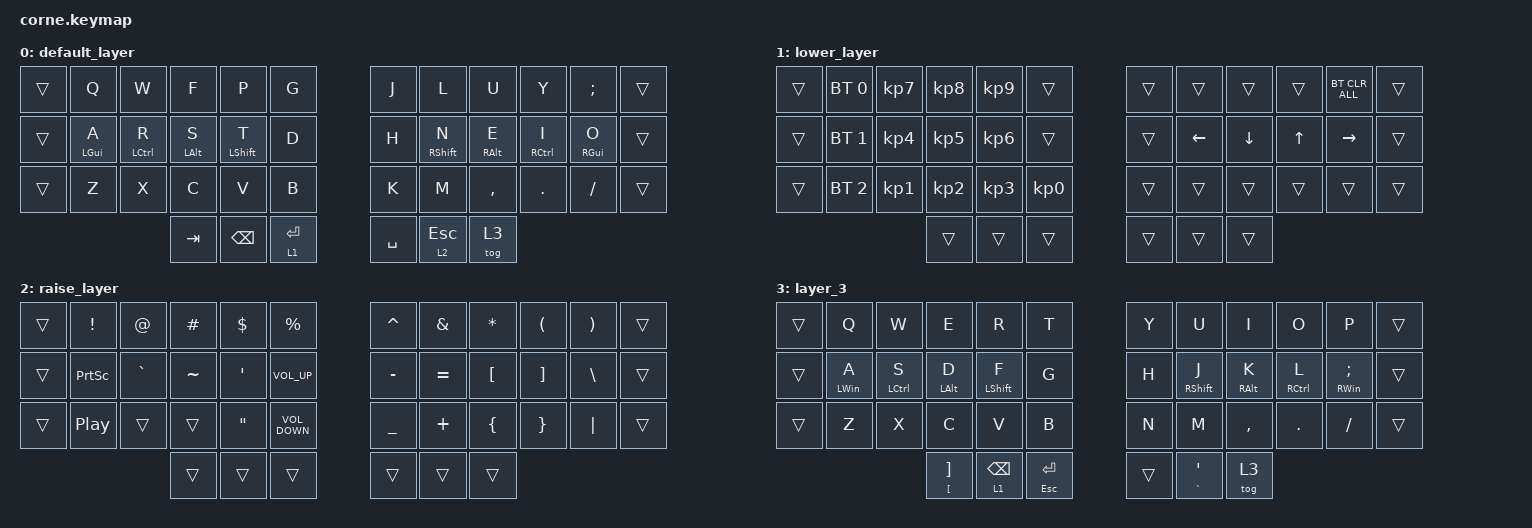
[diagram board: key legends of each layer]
/*
 * Copyright (c) 2020 The ZMK Contributors
 *
 * SPDX-License-Identifier: MIT
 */

#include <behaviors.dtsi>
#include <dt-bindings/zmk/bt.h>
#include <dt-bindings/zmk/keys.h>

/ {
    behaviors {
        HML: HML {
            compatible = "zmk,behavior-hold-tap";
            label = "HML";
            bindings = <&kp>, <&kp>;

            #binding-cells = <2>;
            tapping-term-ms = <280>;
            quick-tap-ms = <175>;
            flavor = "tap-preferred";
            hold-trigger-on-release;
        };

        HMR: HMR {
            compatible = "zmk,behavior-hold-tap";
            label = "HMR";
            bindings = <&kp>, <&kp>;

            #binding-cells = <2>;
            tapping-term-ms = <280>;
            quick-tap-ms = <175>;
            flavor = "tap-preferred";
            hold-trigger-on-release;
        };
    };

    keymap {
        compatible = "zmk,keymap";

        default_layer {
            // -----------------------------------------------------------------------------------------
            // |  TAB |  Q  |  W  |  E  |  R  |  T  |   |  Y  |  U   |  I  |  O  |  P  | BSPC |
            // | CTRL |  A  |  S  |  D  |  F  |  G  |   |  H  |  J   |  K  |  L  |  ;  |  '   |
            // | SHFT |  Z  |  X  |  C  |  V  |  B  |   |  N  |  M   |  ,  |  .  |  /  | ESC  |
            //                    | GUI | LWR | SPC |   | ENT | RSE  | ALT |

            bindings = <
&trans  &kp Q            &kp W                &kp F            &kp P              &kp G          &kp J      &kp L               &kp U             &kp Y                 &kp SEMI          &trans
&trans  &HML LEFT_GUI A  &HML LEFT_CONTROL R  &HML LEFT_ALT S  &HML LEFT_SHIFT T  &kp D          &kp H      &HMR RIGHT_SHIFT N  &HMR RIGHT_ALT E  &HMR RIGHT_CONTROL I  &HMR RIGHT_GUI O  &trans
&trans  &kp Z            &kp X                &kp C            &kp V              &kp B          &kp K      &kp M               &kp COMMA         &kp DOT               &kp FSLH          &trans
                                              &kp TAB          &kp BACKSPACE      &lt 1 ENTER    &kp SPACE  &lt 2 ESCAPE        &tog 3
            >;
        };

        lower_layer {
            // -----------------------------------------------------------------------------------------
            // |  TAB |  1  |  2  |  3  |  4  |  5  |   |  6  |  7  |  8  |  9  |  0  | BSPC |
            // | BTCLR| BT1 | BT2 | BT3 | BT4 | BT5 |   | LFT | DWN |  UP | RGT |     |      |
            // | SHFT |     |     |     |     |     |   |     |     |     |     |     |      |
            //                    | GUI |     | SPC |   | ENT |     | ALT |

            bindings = <
&trans  &bt BT_SEL 0  &kp KP_NUMBER_7  &kp KP_NUMBER_8  &kp KP_NUMBER_9  &trans             &trans  &trans          &trans          &trans        &bt BT_CLR_ALL   &trans
&trans  &bt BT_SEL 1  &kp KP_NUMBER_4  &kp KP_NUMBER_5  &kp KP_NUMBER_6  &trans             &trans  &kp LEFT_ARROW  &kp DOWN_ARROW  &kp UP_ARROW  &kp RIGHT_ARROW  &trans
&trans  &bt BT_SEL 2  &kp KP_NUMBER_1  &kp KP_NUMBER_2  &kp KP_NUMBER_3  &kp KP_NUMBER_0    &trans  &trans          &trans          &trans        &trans           &trans
                                       &trans           &trans           &trans             &trans  &trans          &trans
            >;
        };

        raise_layer {
            // -----------------------------------------------------------------------------------------
            // |  TAB |  !  |  @  |  #  |  $  |  %  |   |  ^  |  &  |  *  |  (  |  )  | BSPC |
            // | CTRL |     |     |     |     |     |   |  -  |  =  |  [  |  ]  |  \  |  `   |
            // | SHFT |     |     |     |     |     |   |  _  |  +  |  {  |  }  | "|" |  ~   |
            //                    | GUI |     | SPC |   | ENT |     | ALT |

            bindings = <
&trans  &kp EXCL          &kp AT     &kp HASH   &kp DLLR           &kp PRCNT            &kp CARET  &kp AMPS   &kp ASTRK  &kp LPAR  &kp RPAR  &trans
&trans  &kp PRINTSCREEN   &kp GRAVE  &kp TILDE  &kp APOSTROPHE     &kp C_VOLUME_UP      &kp MINUS  &kp EQUAL  &kp LBKT   &kp RBKT  &kp BSLH  &trans
&trans  &kp C_PLAY_PAUSE  &trans     &trans     &kp DOUBLE_QUOTES  &kp C_VOLUME_DOWN    &kp UNDER  &kp PLUS   &kp LBRC   &kp RBRC  &kp PIPE  &trans
                                     &trans     &trans             &trans               &trans     &trans     &trans
            >;
        };

        layer_3 {
            bindings = <
&trans  &kp Q            &kp W         &kp E                           &kp R              &kp T               &kp Y   &kp U               &kp I             &kp O         &kp P                &trans
&trans  &HML LEFT_WIN A  &HML LCTRL S  &HML LEFT_ALT D                 &HML LEFT_SHIFT F  &kp G               &kp H   &HMR RIGHT_SHIFT J  &HMR RIGHT_ALT K  &HMR RCTRL L  &HMR RIGHT_WIN SEMI  &trans
&trans  &kp Z            &kp X         &kp C                           &kp V              &kp B               &kp N   &kp M               &kp COMMA         &kp DOT       &kp FSLH             &trans
                                       &mt LEFT_BRACKET RIGHT_BRACKET  &lt 1 BACKSPACE    &mt ESCAPE ENTER    &trans  &mt GRAVE APOS      &tog 3
            >;
        };
    };
};
